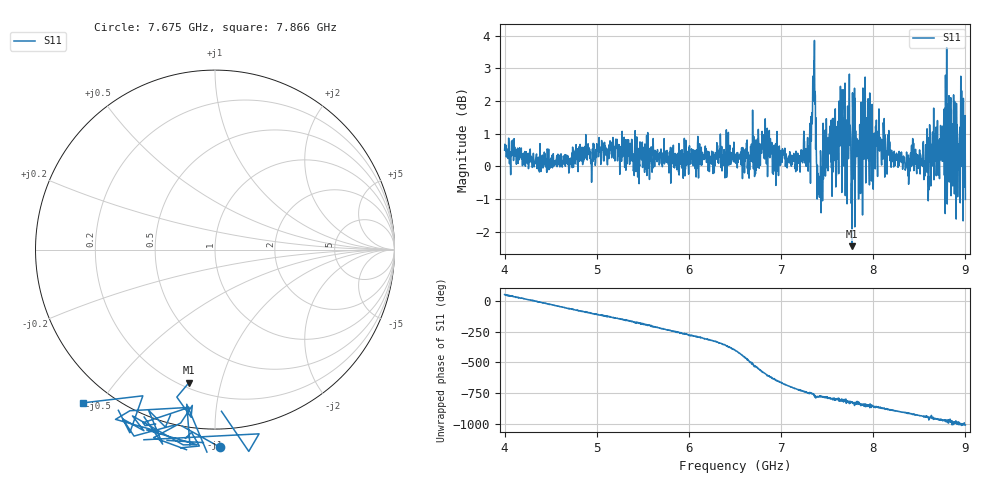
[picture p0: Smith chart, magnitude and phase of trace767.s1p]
! Created with skrf 1.8.0 (http://scikit-rf.org).
# Hz S RI R 50.0
!freq ReS11 ImS11
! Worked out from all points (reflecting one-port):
!   1601 points, 4 GHz to 9 GHz, reference 50 ohm
!   lowest |S11| = -2.4 dB at 7.772 GHz (marker M1), VSWR 7.15, Z = 11.6 - j39.9 ohm
!   phase of S11 starts at 51 deg and turns -1058 deg over the sweep
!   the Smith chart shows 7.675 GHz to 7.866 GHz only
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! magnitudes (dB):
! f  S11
! 4 GHz  0.5
! 4.625 GHz  0.0
! 5.25 GHz  -0.2
! 5.875 GHz  0.1
! 6.5 GHz  0.1
! 6.725 GHz  0.8
! 6.806 GHz  1.0
! 7.125 GHz  0.3
! 7.294 GHz  -0.2
! 7.347 GHz  2.0
! 7.369 GHz  2.3
! 7.4 GHz  -0.2
! 7.412 GHz  -0.3
! 7.481 GHz  -0.3
! 7.609 GHz  1.2
! 7.647 GHz  1.8
! 7.731 GHz  0.2
! 7.75 GHz  1.3
! 7.772 GHz  -2.4
! 7.928 GHz  1.2
! 7.997 GHz  0.8
! 8.05 GHz  1.0
! 8.375 GHz  0.2
! 8.703 GHz  -0.3
! 8.809 GHz  1.9
! 8.875 GHz  0.5
! 8.972 GHz  0.5
! 9 GHz  -1.0
